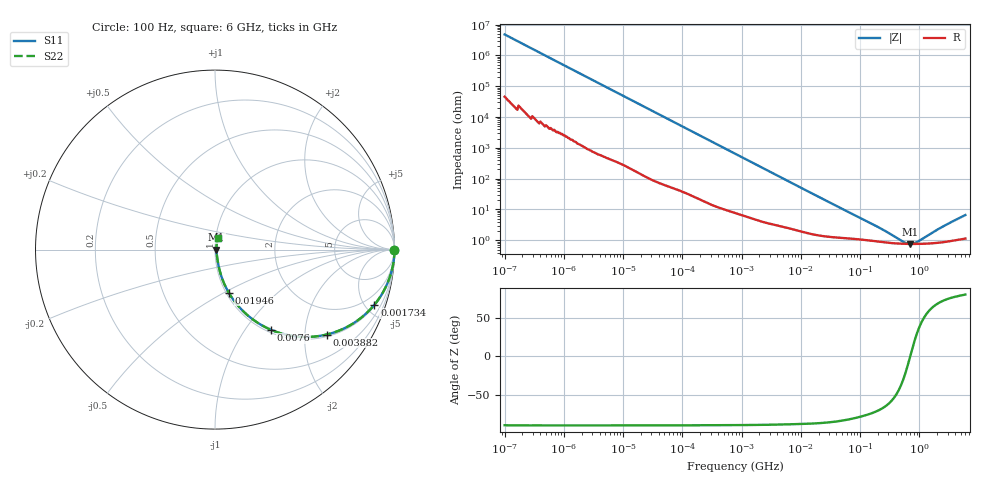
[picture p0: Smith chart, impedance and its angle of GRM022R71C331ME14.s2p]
!Murata Part Number: GRM022R71C331ME14
!These Parameters are Measured in Series Mode Connection
!Data Generated on Mar 30, 2021
!  o--ll--o
!Port1  Port2
!  o------o
!Operation Temp=25[degC], DC Bias Voltage=0[V]
!Freq. Start=100[Hz] Stop=6[GHz] 401[Steps]
# Hz S RI R 50
!Freq.(Hz) S11(Real) S11(Imag) S21(Real) S21(Imag) S12(Real) S12(Imag) S22(Real) S22(Imag)
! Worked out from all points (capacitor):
!   401 points, 100 Hz to 6 GHz, reference 50 ohm
!   read as one part in series: C = 332 pF near 109 Hz
!   lowest |Z| = 761 mohm at 699.5 MHz (marker M1)
!   series resonance near 702.5 MHz, so ESL is about 150 pH
!   S11 on the Smith chart (normalised r, x): 100 Hz: open; 1.734 MHz: 1.09, -5.74; 3.882 MHz: 1.06, -2.58; 7.6 MHz: 1.04, -1.33; 19.46 MHz: 1.03, -0.53; 6 GHz: 1.02, +0.13
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100  1 -2.09e-05  2e-07 2.09e-05  2e-07 2.09e-05  1 -2.09e-05
479  1 -9.95e-05  5e-07 9.95e-05  5e-07 9.95e-05  1 -9.95e-05
2008  1 -0.000415  2.2e-06 0.000415  2.2e-06 0.000415  1 -0.000415
40335  0.9999 -0.00826  0.000117 0.00826  0.000117 0.00826  0.9999 -0.00826
241822  0.9972 -0.0489  0.00282 0.0489  0.00282 0.0489  0.9972 -0.0489
774597  0.9744 -0.1521  0.0256 0.1521  0.0256 0.1521  0.9744 -0.1521
1734173  0.8881 -0.3074  0.1119 0.3074  0.1119 0.3074  0.8881 -0.3074
2594782  0.7832 -0.4026  0.2168 0.4026  0.2168 0.4026  0.7832 -0.4026
3882480  0.6225 -0.4731  0.3775 0.4731  0.3775 0.4731  0.6225 -0.4731
5311619  0.474 -0.4855  0.526 0.4855  0.526 0.4855  0.474 -0.4855
7599586  0.313 -0.4473  0.687 0.4473  0.687 0.4473  0.313 -0.4473
1.087309e7  0.1891 -0.3723  0.8109 0.3723  0.8109 0.3723  0.1891 -0.3723
1.555665e7  0.1086 -0.2881  0.8914 0.2881  0.8914 0.2881  0.1086 -0.2881
1.946e7  0.0763 -0.2395  0.9237 0.2395  0.9237 0.2395  0.0763 -0.2395
3.330331e7  0.0349 -0.1471  0.9651 0.1471  0.9651 0.1471  0.0349 -0.1471
5.960426e7  0.0187 -0.0843  0.9813 0.0843  0.9813 0.0843  0.0187 -0.0843
3.124326e8  0.00834 -0.0143  0.9917 0.0143  0.9917 0.0143  0.00834 -0.0143
5.346885e8  0.00766 -0.00445  0.9923 0.00445  0.9923 0.00445  0.00766 -0.00445
6.994765e8  0.00755 -6.81e-05  0.9925 6.81e-05  0.9925 6.81e-05  0.00755 -6.81e-05
9.150511e8  0.00757 0.00432  0.9924 -0.00432  0.9924 -0.00432  0.00757 0.00432
2.450438e9  0.00916 0.0254  0.9908 -0.0254  0.9908 -0.0254  0.00916 0.0254
6e9  0.0153 0.0633  0.9847 -0.0633  0.9847 -0.0633  0.0153 0.0633
